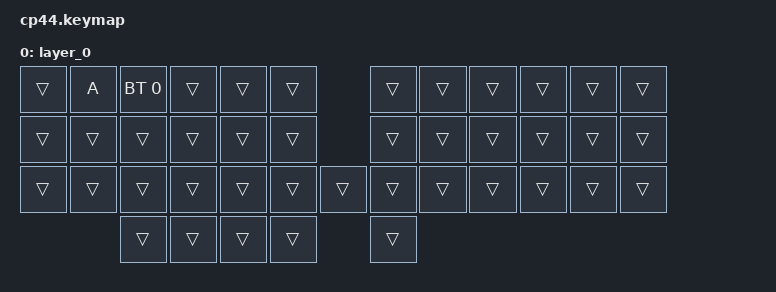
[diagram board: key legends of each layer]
#include <behaviors.dtsi>
#include <dt-bindings/zmk/bt.h>
#include <dt-bindings/zmk/keys.h>

/ {
    keymap {
        compatible = "zmk,keymap";

        layer_0 {
            bindings = <
&trans  &kp A   &bt BT_SEL 0  &trans  &trans  &trans          &trans  &trans  &trans  &trans  &trans  &trans
&trans  &trans  &trans        &trans  &trans  &trans          &trans  &trans  &trans  &trans  &trans  &trans
&trans  &trans  &trans        &trans  &trans  &trans  &trans  &trans  &trans  &trans  &trans  &trans  &trans
                &trans        &trans  &trans  &trans          &trans
            >;
        };
    };
};
